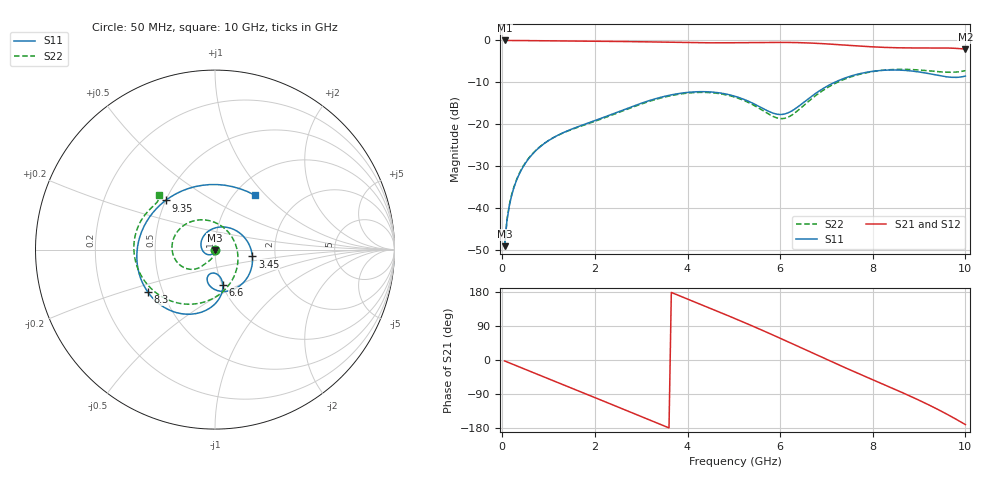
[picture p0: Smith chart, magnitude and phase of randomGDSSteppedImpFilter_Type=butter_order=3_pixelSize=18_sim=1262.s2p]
! freq	dB(S11)	phase(S11)	dB(S12)	phase(S12)
!  dB(S21)	phase(S21)	dB(S22)	phase(S22)
!S-par simulation data
#  GHz  S  DB  R 50
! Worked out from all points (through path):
!   200 points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, 50 MHz to 10 GHz, reference 50 ohm
!   highest |S21| = 0.00 dB at 50 MHz (marker M1); lowest = -2.1 dB at 10 GHz (marker M2)
!   group delay of S21, straight-line fit = 145 ps
!   lowest |S11| = -49.1 dB at 50 MHz (marker M3), VSWR 1.01, Z = 50 - j0.351 ohm
!   |S11| at or under -10 dB: start of sweep to 7.174 GHz
!   |S22| runs from -48.9 to -6.9 dB; largest |S21 - S12| = 0
!   S11 on the Smith chart (normalised r, x): 50 MHz: 1.00, -0.01; 3.45 GHz: 1.52, -0.12; 6.6 GHz: 1.01, -0.41; 8.3 GHz: 0.41, -0.24; 9.35 GHz: 0.50, +0.32; 10 GHz: 1.23, +0.87
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0.05  -49.08 -92.7  -0.00 -2.5  -0.00 -2.5  -48.88 -90.3
0.1  -43.06 -97.0  -0.00 -5.0  -0.00 -5.0  -42.87 -92.2
0.2  -37.06 -104.8  -0.01 -10.0  -0.01 -10.0  -36.88 -95.2
0.5  -29.27 -127.6  -0.03 -24.9  -0.03 -24.9  -29.15 -103.3
1.15  -22.90 -178.9  -0.09 -57.0  -0.09 -57.0  -22.92 -117.5
1.75  -20.11 129.1  -0.14 -86.8  -0.14 -86.8  -20.25 -125.0
2.5  -17.04 61.9  -0.23 -124.2  -0.23 -124.2  -17.24 -131.8
3.4  -13.62 -7.1  -0.40 -169.2  -0.40 -169.2  -13.80 -151.8
3.45  -13.48 -10.4  -0.42 -171.7  -0.42 -171.7  -13.66 -153.4
4.2  -12.24 -55.5  -0.54 150.9  -0.54 150.9  -12.40 178.0
5.05  -13.40 -94.5  -0.54 108.0  -0.54 108.0  -13.62 133.1
5.8  -17.14 -102.0  -0.46 68.4  -0.46 68.4  -17.87 63.1
6.15  -17.36 -86.5  -0.47 49.1  -0.47 49.1  -18.40 6.2
6.6  -13.98 -77.4  -0.59 24.0  -0.59 24.0  -14.64 -55.8
6.7  -13.16 -78.6  -0.64 18.4  -0.64 18.4  -13.73 -65.9
7.4  -8.96 -102.2  -1.11 -20.2  -1.11 -20.2  -9.20 -119.0
8.3  -7.08 -147.5  -1.67 -68.0  -1.67 -68.0  -7.03 -168.9
8.35  -7.06 -150.4  -1.69 -70.6  -1.69 -70.6  -6.99 -171.3
8.9  -7.37 174.0  -1.79 -100.5  -1.79 -100.5  -6.98 164.2
9.35  -8.21 135.2  -1.77 -127.0  -1.77 -127.0  -7.39 148.6
9.7  -8.79 94.9  -1.84 -149.6  -1.84 -149.6  -7.59 140.6
10  -8.51 53.9  -2.07 -170.4  -2.07 -170.4  -7.21 135.7
